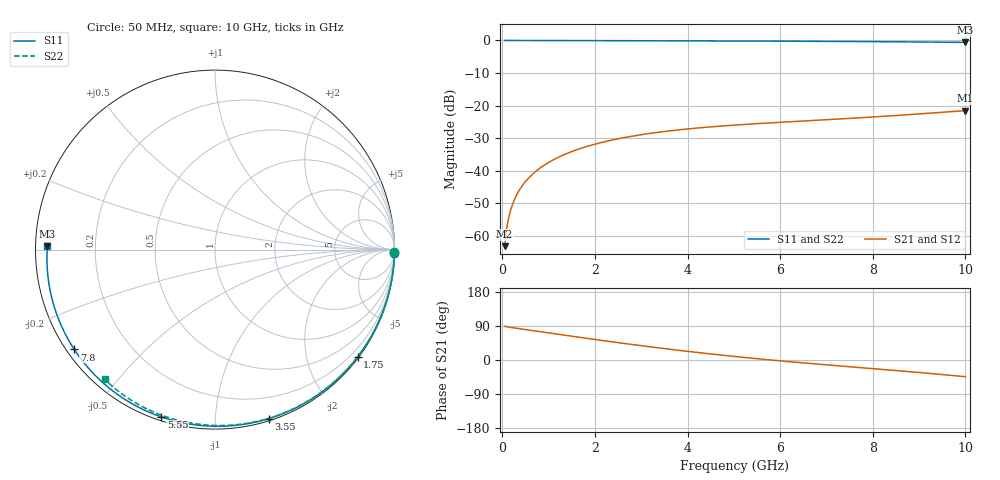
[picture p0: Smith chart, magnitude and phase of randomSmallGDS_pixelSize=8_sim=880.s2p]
! freq	dB(S11)	phase(S11)	dB(S12)	phase(S12)
!  dB(S21)	phase(S21)	dB(S22)	phase(S22)
!S-par simulation data
#  GHz  S  DB  R 50
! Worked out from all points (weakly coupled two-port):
!   200 points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, 50 MHz to 10 GHz, reference 50 ohm
!   highest |S21| = -21.55 dB at 10 GHz (marker M1); lowest = -63.2 dB at 50 MHz (marker M2)
!   lowest |S11| = -0.6 dB at 10 GHz (marker M3), VSWR 29.35, Z = 1.7 + j0.517 ohm
!   |S11| at or under -10 dB: nowhere
!   |S22| runs from -0.5 to 0.0 dB; largest |S21 - S12| = 0
!   S11 on the Smith chart (normalised r, x): 50 MHz: open; 1.75 GHz: 0.03, -3.00; 3.55 GHz: 0.02, -1.37; 5.55 GHz: 0.02, -0.73; 7.8 GHz: 0.02, -0.32; 10 GHz: 0.03, +0.01
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0.05  -0.00 -1.1  -63.17 88.9  -63.17 88.9  -0.00 -0.8
0.1  -0.00 -2.2  -57.16 87.8  -57.16 87.8  -0.00 -1.5
0.15  -0.00 -3.2  -53.66 86.8  -53.66 86.8  -0.00 -2.3
0.2  -0.00 -4.3  -51.18 85.8  -51.18 85.8  -0.00 -3.1
0.25  -0.00 -5.4  -49.27 84.8  -49.27 84.8  -0.00 -3.8
0.35  -0.01 -7.5  -46.39 83.0  -46.39 83.0  -0.00 -5.3
0.5  -0.01 -10.7  -43.34 80.3  -43.34 80.3  -0.01 -7.6
0.7  -0.02 -15.0  -40.47 76.8  -40.47 76.8  -0.01 -10.7
1  -0.03 -21.3  -37.46 71.5  -37.46 71.5  -0.02 -15.2
1.35  -0.04 -28.7  -34.97 65.3  -34.97 65.3  -0.03 -20.4
1.75  -0.05 -36.9  -32.89 58.4  -32.89 58.4  -0.04 -26.3
2.6  -0.07 -54.0  -29.92 44.1  -29.92 44.1  -0.05 -38.7
3.4  -0.10 -69.5  -28.13 31.6  -28.13 31.6  -0.07 -50.0
3.55  -0.10 -72.3  -27.87 29.4  -27.87 29.4  -0.08 -52.1
4.3  -0.13 -86.0  -26.77 18.7  -26.77 18.7  -0.10 -62.3
5.05  -0.16 -99.3  -25.95 8.9  -25.95 8.9  -0.12 -72.2
5.55  -0.18 -107.8  -25.50 2.9  -25.50 2.9  -0.14 -78.6
6.7  -0.25 -126.9  -24.58 -9.7  -24.58 -9.7  -0.19 -92.8
7.8  -0.34 -144.6  -23.68 -20.8  -23.68 -20.8  -0.26 -105.8
8.35  -0.39 -153.6  -23.18 -26.3  -23.18 -26.3  -0.30 -112.1
9.2  -0.49 -167.5  -22.36 -35.1  -22.36 -35.1  -0.37 -121.6
10  -0.59 178.8  -21.55 -44.0  -21.55 -44.0  -0.46 -130.4
